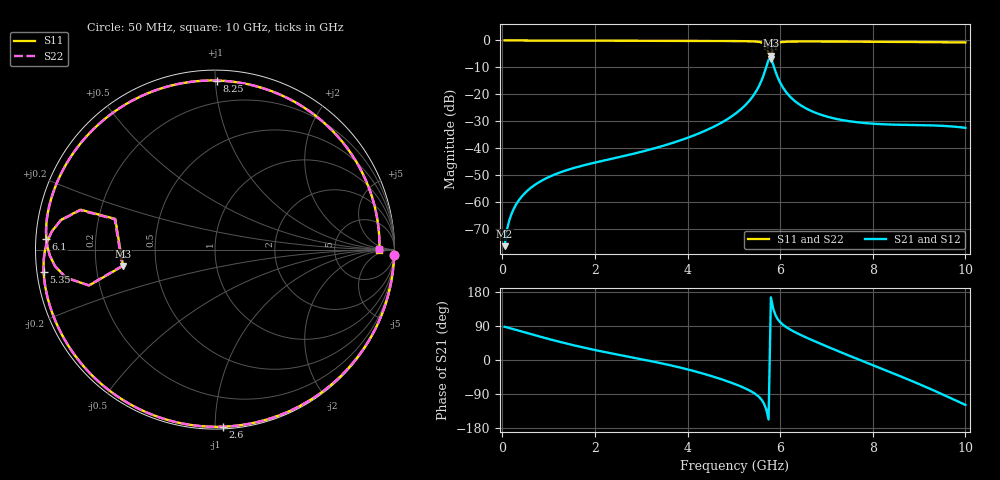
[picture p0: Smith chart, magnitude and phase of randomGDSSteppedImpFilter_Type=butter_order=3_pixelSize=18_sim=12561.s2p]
! freq	dB(S11)	phase(S11)	dB(S12)	phase(S12)
!  dB(S21)	phase(S21)	dB(S22)	phase(S22)
!S-par simulation data
#  GHz  S  DB  R 50
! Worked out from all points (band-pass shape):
!   200 points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, 50 MHz to 10 GHz, reference 50 ohm
!   highest |S21| = -6.76 dB at 5.8 GHz (marker M1); lowest = -76.4 dB at 50 MHz (marker M2)
!   |S21| within 3 dB of the highest: 5.7 GHz to 5.865 GHz (165 MHz wide, 2.85 % of centre)
!   lowest |S11| = -5.7 dB at 5.8 GHz (marker M3), VSWR 3.17, Z = 15.9 - j3.95 ohm
!   |S11| at or under -10 dB: nowhere
!   |S22| runs from -5.6 to 0.0 dB; largest |S21 - S12| = 0
!   S11 on the Smith chart (normalised r, x): 50 MHz: 4, -65; 2.6 GHz: 0.01, -1.05; 5.35 GHz: 0.02, -0.06; 6.1 GHz: 0.03, +0.03; 8.25 GHz: 0.06, +1.01; 10 GHz: 23, +0
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0.05  -0.01 -1.8  -76.36 87.6  -76.36 87.6  -0.01 -1.8
0.1  -0.02 -3.5  -70.34 86.2  -70.34 86.2  -0.02 -3.5
0.2  -0.02 -7.1  -64.33 82.8  -64.33 82.8  -0.02 -7.1
0.5  -0.02 -17.7  -56.47 72.3  -56.47 72.3  -0.02 -17.6
1  -0.04 -35.0  -50.73 55.5  -50.73 55.5  -0.04 -35.0
1.75  -0.07 -60.3  -46.39 33.0  -46.39 33.0  -0.07 -60.3
2.6  -0.11 -87.5  -43.00 11.6  -43.00 11.6  -0.11 -87.4
3.4  -0.14 -111.8  -39.49 -7.8  -39.49 -7.8  -0.14 -111.8
5.05  -0.25 -161.7  -26.99 -64.8  -26.99 -64.8  -0.25 -161.7
5.35  -0.33 -172.6  -22.08 -81.2  -22.08 -81.2  -0.33 -172.5
5.6  -0.76 173.8  -14.79 -105.1  -14.79 -105.1  -0.76 173.9
5.7  -2.14 163.5  -9.78 -130.3  -9.78 -130.3  -2.13 163.7
5.75  -4.71 162.9  -7.18 -157.0  -7.18 -157.0  -4.67 163.2
5.8  -5.67 -170.0  -6.76 165.5  -6.76 165.5  -5.62 -170.0
5.9  -1.46 -169.3  -11.57 118.1  -11.57 118.1  -1.46 -169.4
6.1  -0.52 176.3  -18.51 89.4  -18.51 89.4  -0.52 176.3
6.7  -0.39 152.2  -26.40 51.9  -26.40 51.9  -0.39 152.3
7.55  -0.45 119.6  -30.13 8.5  -30.13 8.5  -0.45 119.7
8.25  -0.52 89.4  -31.13 -25.8  -31.13 -25.8  -0.52 89.5
8.35  -0.53 84.8  -31.20 -30.7  -31.20 -30.7  -0.53 84.9
9.1  -0.62 47.7  -31.47 -68.7  -31.47 -68.7  -0.62 47.9
10  -0.76 0.0  -32.44 -118.5  -32.44 -118.5  -0.76 0.2
